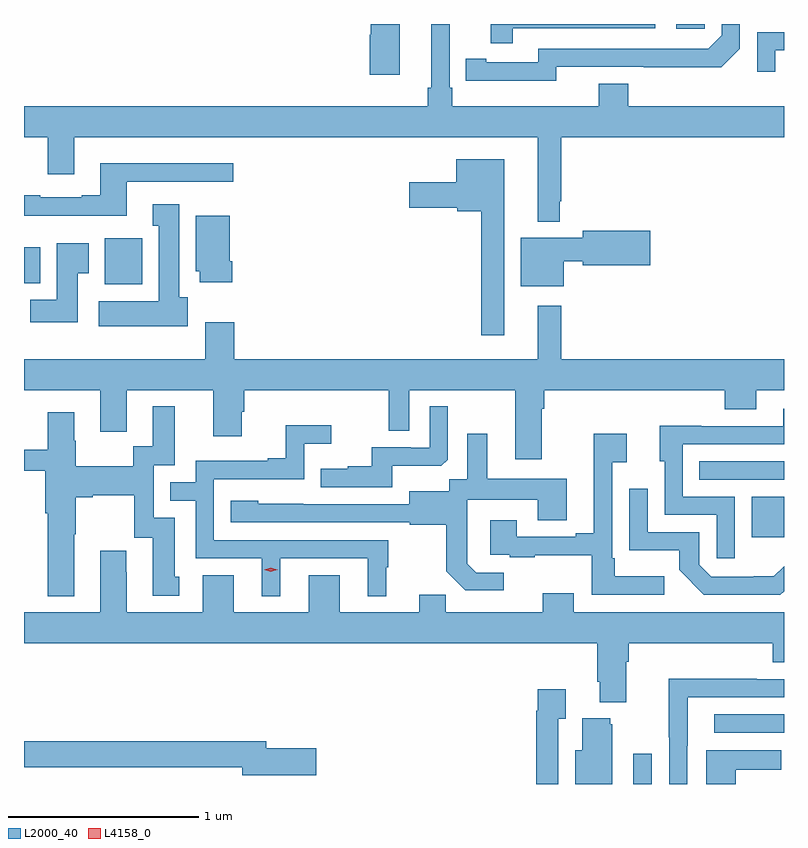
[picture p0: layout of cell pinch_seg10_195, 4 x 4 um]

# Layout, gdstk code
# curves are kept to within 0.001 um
import gdstk
lib = gdstk.Library(unit=1e-6, precision=1e-09)
def R(c, l, rs):  # rectangles x0, y0, x1, y1
    for r in rs: c.add(gdstk.rectangle(r[:2], r[2:], *l))
def P(c, l, *ps):  # polygons
    for p in ps: c.add(gdstk.Polygon(p, *l))
L2000_40 = (2000, 40)
L4158_0 = (4158, 0)

pinch_seg10_195 = lib.new_cell('pinch_seg10_195')
R(pinch_seg10_195, L2000_40, [(795.441,1254.288,795.537,1254.448), (795.867,1254.558,796.234,1254.654), (796.064,1255.586,796.234,1255.801), (795.787,1255.89,796.234,1255.986), (792.659,1256.918,792.856,1257.16), (792.234,1256.924,792.319,1257.112), (795.666,1258.263,795.816,1258.288)])
P(pinch_seg10_195, L2000_40, [(795.054,1257.355),(795.061,1257.355),(795.061,1257.692),(796.234,1257.692),(796.234,1257.856),(795.413,1257.856),(795.413,1257.973),(795.26,1257.973),(795.26,1257.856),(794.489,1257.856),(794.489,1257.952),(794.475,1257.952),(794.475,1258.288),(794.378,1258.288),(794.378,1257.952),(794.359,1257.952),(794.359,1257.856),(792.234,1257.856),(792.234,1257.692),(792.359,1257.692),(792.359,1257.498),(792.499,1257.498),(792.499,1257.692),(794.939,1257.692),(794.939,1257.248),(795.054,1257.248)],
  [(795.036,1258.062),(795.904,1258.061),(796.002,1258.158),(796.002,1258.288),(795.906,1258.288),(795.906,1258.23),(795.834,1258.158),(794.94,1258.158),(794.94,1258.086),(794.668,1258.086),(794.668,1258.106),(794.56,1258.106),(794.56,1257.99),(795.036,1257.989)],
  [(794.212,1258.288),(794.059,1258.288),(794.059,1258.232),(794.054,1258.232),(794.054,1258.02),(794.212,1258.02)],
  [(794.807,1258.266),(795.556,1258.266),(795.556,1258.288),(794.69,1258.288),(794.69,1258.188),(794.807,1258.188)],
  [(796.189,1258.149),(796.234,1258.149),(796.234,1258.245),(796.092,1258.245),(796.092,1258.038),(796.189,1258.038)],
  [(794.761,1257.577),(794.51,1257.577),(794.51,1257.454),(794.262,1257.454),(794.262,1257.32),(794.514,1257.32),(794.514,1257.302),(794.64,1257.302),(794.64,1256.649),(794.761,1256.649)],
  [(792.775,1257.459),(793.336,1257.459),(793.336,1257.556),(792.635,1257.556),(792.635,1257.388),(792.539,1257.388),(792.539,1257.375),(792.319,1257.375),(792.319,1257.388),(792.234,1257.388),(792.234,1257.278),(792.775,1257.278)],
  [(793.096,1256.85),(793.051,1256.85),(793.051,1257.34),(792.911,1257.34),(792.911,1257.227),(792.944,1257.227),(792.944,1256.83),(792.627,1256.83),(792.627,1256.696),(793.096,1256.696)],
  [(793.331,1257.04),(793.318,1257.04),(793.318,1257.28),(793.139,1257.28),(793.139,1256.988),(793.16,1256.988),(793.16,1256.928),(793.331,1256.928)],
  [(795.076,1257.04),(795.176,1257.04),(795.176,1257.017),(795.529,1257.017),(795.529,1257.2),(795.176,1257.2),(795.176,1257.163),(794.849,1257.163),(794.849,1256.909),(795.076,1256.909)],
  [(792.517,1256.977),(792.574,1256.977),(792.574,1257.133),(792.407,1257.133),(792.407,1256.836),(792.268,1256.836),(792.268,1256.718),(792.517,1256.718)],
  [(794.959,1256.264),(794.972,1256.264),(794.972,1256.36),(795.923,1256.36),(795.923,1256.261),(796.087,1256.261),(796.087,1256.36),(796.234,1256.36),(796.234,1256.524),(795.061,1256.524),(795.061,1256.806),(794.939,1256.806),(794.939,1256.524),(793.34,1256.524),(793.34,1256.719),(793.187,1256.719),(793.187,1256.524),(792.234,1256.524),(792.234,1256.36),(792.635,1256.36),(792.635,1256.142),(792.775,1256.142),(792.775,1256.36),(793.229,1256.36),(793.229,1256.118),(793.381,1256.118),(793.381,1256.247),(793.394,1256.247),(793.394,1256.36),(794.154,1256.36),(794.154,1256.146),(794.262,1256.146),(794.262,1256.36),(794.819,1256.36),(794.819,1255.998),(794.959,1255.998)],
  [(792.499,1255.603),(792.507,1255.603),(792.507,1255.796),(792.595,1255.796),(792.595,1255.808),(792.815,1255.808),(792.815,1255.584),(792.911,1255.584),(792.911,1255.278),(793.051,1255.278),(793.051,1255.38),(793.027,1255.38),(793.027,1255.689),(792.918,1255.689),(792.918,1255.965),(793.027,1255.965),(793.027,1256.275),(792.911,1256.275),(792.911,1256.066),(792.81,1256.066),(792.81,1255.96),(792.507,1255.96),(792.507,1256.094),(792.499,1256.094),(792.499,1256.245),(792.359,1256.245),(792.359,1256.046),(792.234,1256.046),(792.234,1255.938),(792.347,1255.938),(792.347,1255.712),(792.359,1255.712),(792.359,1255.277),(792.499,1255.277)],
  [(794.173,1255.964),(794.431,1255.964),(794.463,1255.995),(794.463,1256.275),(794.37,1256.275),(794.37,1256.058),(794.27,1256.058),(794.27,1256.061),(794.063,1256.061),(794.063,1255.96),(793.939,1255.96),(793.939,1255.948),(793.795,1255.948),(793.795,1255.851),(794.173,1255.851)],
  [(795.975,1255.8),(795.702,1255.8),(795.702,1256.076),(796.234,1256.076),(796.234,1256.263),(796.229,1256.263),(796.229,1256.172),(795.799,1256.172),(795.799,1256.174),(795.581,1256.174),(795.581,1255.986),(795.606,1255.986),(795.606,1255.704),(795.879,1255.704),(795.879,1255.476),(795.975,1255.476)],
  [(793.582,1255.476),(794.042,1255.476),(794.042,1255.277),(794.14,1255.277),(794.14,1255.428),(794.152,1255.428),(794.152,1255.572),(793.233,1255.572),(793.233,1255.893),(793.71,1255.893),(793.71,1256.078),(793.852,1256.078),(793.852,1256.177),(793.612,1256.177),(793.612,1256.002),(793.517,1256.002),(793.517,1255.989),(793.137,1255.989),(793.137,1255.875),(793.003,1255.875),(793.003,1255.779),(793.137,1255.779),(793.137,1255.476),(793.484,1255.476),(793.484,1255.277),(793.582,1255.277)],
  [(795.604,1255.381),(795.343,1255.381),(795.343,1255.477),(795.33,1255.477),(795.33,1255.982),(795.406,1255.982),(795.406,1256.131),(795.233,1256.131),(795.233,1255.609),(795.137,1255.609),(795.137,1255.59),(794.827,1255.59),(794.827,1255.675),(794.687,1255.675),(794.687,1255.494),(794.791,1255.494),(794.791,1255.482),(794.923,1255.482),(794.923,1255.493),(795.222,1255.493),(795.222,1255.284),(795.604,1255.284)],
  [(794.758,1255.401),(794.613,1255.401),(794.566,1255.448),(794.566,1255.543),(794.568,1255.543),(794.568,1255.784),(794.939,1255.784),(794.939,1255.675),(795.091,1255.675),(795.091,1255.894),(794.671,1255.894),(794.671,1256.131),(794.567,1256.131),(794.567,1255.892),(794.472,1255.892),(794.472,1255.828),(794.261,1255.828),(794.261,1255.761),(793.467,1255.762),(793.467,1255.78),(793.323,1255.78),(793.323,1255.665),(794.265,1255.665),(794.265,1255.653),(794.457,1255.653),(794.457,1255.407),(794.557,1255.307),(794.758,1255.307)],
  [(796.234,1255.303),(796.234,1255.435),(796.181,1255.382),(796.076,1255.382),(796.076,1255.38),(795.852,1255.38),(795.789,1255.443),(795.789,1255.614),(795.516,1255.614),(795.516,1255.843),(795.42,1255.843),(795.42,1255.517),(795.682,1255.517),(795.682,1255.415),(795.812,1255.284),(796.215,1255.284)],
  [(795.403,1254.932),(795.416,1254.932),(795.416,1255.028),(796.175,1255.028),(796.175,1254.929),(796.234,1254.929),(796.234,1255.192),(795.127,1255.192),(795.127,1255.291),(794.963,1255.291),(794.963,1255.192),(794.453,1255.192),(794.453,1255.283),(794.315,1255.283),(794.315,1255.192),(793.897,1255.192),(793.897,1255.387),(793.733,1255.387),(793.733,1255.192),(793.339,1255.192),(793.339,1255.387),(793.175,1255.387),(793.175,1255.192),(792.775,1255.192),(792.775,1255.403),(792.772,1255.403),(792.772,1255.516),(792.635,1255.516),(792.635,1255.192),(792.234,1255.192),(792.234,1255.028),(795.251,1255.028),(795.251,1254.826),(795.263,1254.826),(795.263,1254.719),(795.403,1254.719)],
  [(795.726,1254.49),(795.727,1254.49),(795.727,1254.744),(796.234,1254.744),(796.234,1254.84),(796.091,1254.84),(796.091,1254.842),(795.628,1254.842),(795.628,1254.535),(795.63,1254.535),(795.63,1254.288),(795.726,1254.288)],
  [(795.045,1254.631),(795.085,1254.631),(795.085,1254.787),(794.937,1254.787),(794.937,1254.674),(794.929,1254.674),(794.929,1254.288),(795.045,1254.288)],
  [(795.331,1254.603),(795.32,1254.603),(795.32,1254.634),(795.173,1254.634),(795.173,1254.466),(795.134,1254.466),(795.134,1254.288),(795.331,1254.288)],
  [(793.771,1254.476),(793.51,1254.476),(793.51,1254.512),(792.234,1254.512),(792.234,1254.376),(793.382,1254.376),(793.382,1254.334),(793.771,1254.334)],
  [(795.981,1254.362),(796.22,1254.362),(796.22,1254.466),(795.824,1254.466),(795.824,1254.288),(795.981,1254.288)])
P(pinch_seg10_195, L4158_0, [(793.533,1255.406),(793.498,1255.416),(793.497,1255.416),(793.498,1255.416),(793.533,1255.426),(793.568,1255.416),(793.569,1255.416),(793.568,1255.416)])

lib.write_gds('pinch_seg10_195.gds')
